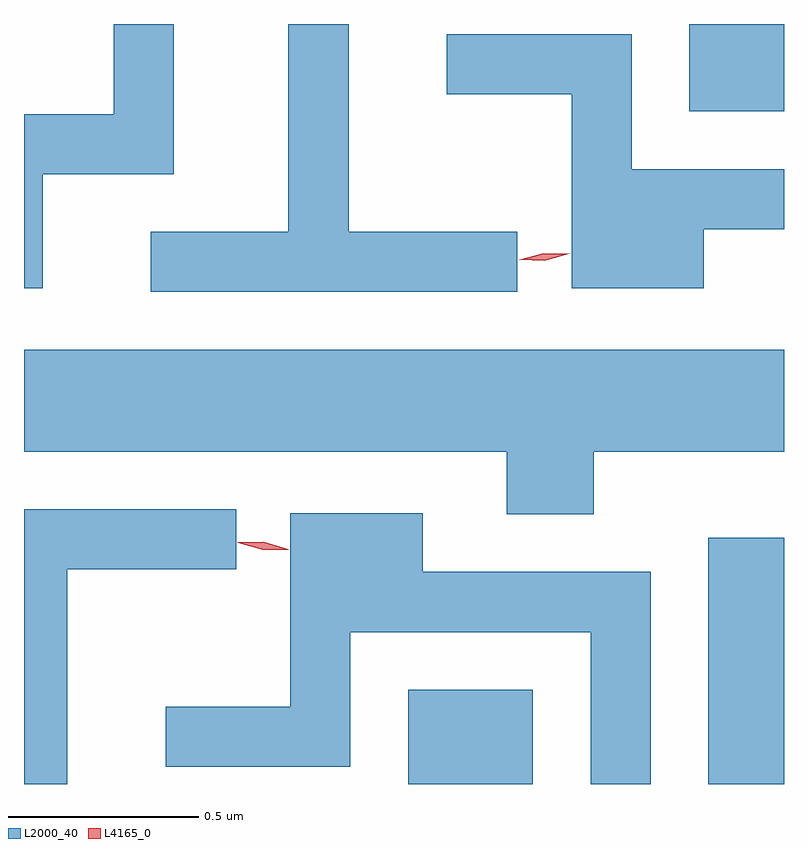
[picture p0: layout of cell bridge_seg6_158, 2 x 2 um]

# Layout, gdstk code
import gdstk
lib = gdstk.Library(unit=1e-6, precision=1e-09)
def R(c, l, rs):  # rectangles x0, y0, x1, y1
    for r in rs: c.add(gdstk.rectangle(r[:2], r[2:], *l))
def P(c, l, *ps):  # polygons
    for p in ps: c.add(gdstk.Polygon(p, *l))
L2000_40 = (2000, 40)
L4165_0 = (4165, 0)

bridge_seg6_158 = lib.new_cell('bridge_seg6_158')
R(bridge_seg6_158, L2000_40, [(1210.531,1595.781,1210.859,1596.029), (1211.321,1595.781,1211.52,1596.429), (1211.271,1597.551,1211.52,1597.781)])
P(bridge_seg6_158, L2000_40, [(1210.818,1597.234),(1210.374,1597.234),(1210.374,1597.781),(1210.216,1597.781),(1210.216,1597.234),(1209.853,1597.234),(1209.853,1597.076),(1210.818,1597.076)],
  [(1209.569,1597.386),(1209.914,1597.386),(1209.914,1597.781),(1209.756,1597.781),(1209.756,1597.544),(1209.52,1597.544),(1209.52,1597.086),(1209.569,1597.086)],
  [(1211.309,1597.241),(1211.52,1597.241),(1211.52,1597.399),(1211.119,1597.399),(1211.119,1597.754),(1210.633,1597.754),(1210.633,1597.596),(1210.961,1597.596),(1210.961,1597.086),(1211.309,1597.086)],
  [(1211.019,1596.656),(1211.52,1596.656),(1211.52,1596.924),(1209.52,1596.924),(1209.52,1596.656),(1210.791,1596.656),(1210.791,1596.491),(1211.019,1596.491)],
  [(1209.634,1596.346),(1210.078,1596.346),(1210.078,1596.504),(1209.52,1596.504),(1209.52,1595.781),(1209.634,1595.781)],
  [(1211.169,1596.339),(1210.569,1596.339),(1210.569,1596.494),(1210.221,1596.494),(1210.221,1595.984),(1209.893,1595.984),(1209.893,1595.826),(1210.379,1595.826),(1210.379,1596.181),(1211.011,1596.181),(1211.011,1595.781),(1211.169,1595.781)])
P(bridge_seg6_158, L4165_0, [(1210.148,1596.398),(1210.083,1596.416),(1210.083,1596.417),(1210.083,1596.417),(1210.15,1596.418),(1210.215,1596.399),(1210.215,1596.399),(1210.215,1596.398)],
  [(1210.89,1597.158),(1210.823,1597.16),(1210.823,1597.161),(1210.823,1597.161),(1210.888,1597.178),(1210.955,1597.177),(1210.956,1597.176),(1210.955,1597.176)])

lib.write_gds('bridge_seg6_158.gds')
